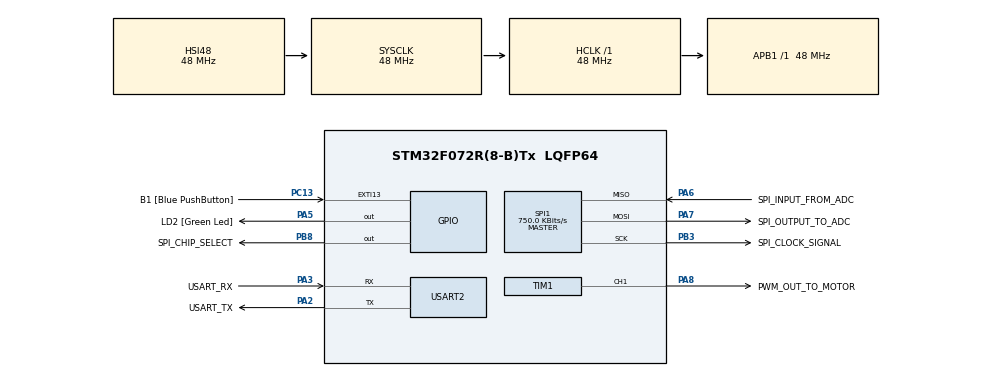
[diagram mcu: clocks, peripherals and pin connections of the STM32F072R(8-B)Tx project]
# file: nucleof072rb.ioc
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Mcu.Family=STM32F0
Mcu.Name=STM32F072R(8-B)Tx
Mcu.Package=LQFP64
PA13.GPIO_Label=TMS
PA13.Mode=Serial_Wire
PA13.Signal=SYS_SWDIO
PA14.GPIO_Label=TCK
PA14.Mode=Serial_Wire
PA14.Signal=SYS_SWCLK
PA2.GPIO_Label=USART_TX
PA2.GPIO_Mode=GPIO_MODE_AF_PP
PA2.GPIO_PuPd=GPIO_NOPULL
PA2.GPIO_Speed=GPIO_SPEED_FREQ_LOW
PA2.Mode=Asynchronous
PA2.Signal=USART2_TX
PA3.GPIO_Label=USART_RX
PA3.GPIO_Mode=GPIO_MODE_AF_PP
PA3.GPIO_PuPd=GPIO_NOPULL
PA3.GPIO_Speed=GPIO_SPEED_FREQ_LOW
PA3.Mode=Asynchronous
PA3.Signal=USART2_RX
PA5.GPIO_Label=LD2 [Green Led]
PA5.GPIO_Mode=GPIO_MODE_OUTPUT_PP
PA5.GPIO_PuPd=GPIO_NOPULL
PA5.GPIO_Speed=GPIO_SPEED_FREQ_LOW
PA5.Signal=GPIO_Output
PA6.GPIO_Label=SPI_INPUT_FROM_ADC
PA6.Mode=Full_Duplex_Master
PA6.Signal=SPI1_MISO
PA7.GPIO_Label=SPI_OUTPUT_TO_ADC
PA7.Mode=Full_Duplex_Master
PA7.Signal=SPI1_MOSI
PA8.GPIO_Label=PWM_OUT_TO_MOTOR
PA8.Signal=S_TIM1_CH1
PB3.GPIO_Label=SPI_CLOCK_SIGNAL
PB3.Mode=Full_Duplex_Master
PB3.Signal=SPI1_SCK
PB8.GPIO_Label=SPI_CHIP_SELECT
PB8.Signal=GPIO_Output
PC13.GPIO_Label=B1 [Blue PushButton]
PC13.GPIO_ModeDefaultEXTI=GPIO_MODE_IT_FALLING
PC13.Signal=GPXTI13
PC14-OSC32_IN.Mode=LSE-External-Oscillator
PC14-OSC32_IN.Signal=RCC_OSC32_IN
PC15-OSC32_OUT.Mode=LSE-External-Oscillator
PC15-OSC32_OUT.Signal=RCC_OSC32_OUT
PF0-OSC_IN.Mode=HSE-External-Clock-Source
PF0-OSC_IN.Signal=RCC_OSC_IN
PF1-OSC_OUT.Signal=RCC_OSC_OUT
ProjectManager.HeapSize=0x200
ProjectManager.StackSize=0x400
ProjectManager.TargetToolchain=STM32CubeIDE
RCC.AHBFreq_Value=48000000
RCC.APB1Freq_Value=48000000
RCC.APB1TimFreq_Value=48000000
RCC.FLatency-AdvancedSettings=FLASH_LATENCY_1
RCC.HCLKFreq_Value=48000000
RCC.PLLDivider=RCC_PREDIV_DIV2
RCC.PLLMUL=RCC_PLL_MUL12
RCC.PREFETCH_ENABLE-AdvancedSettings=1
RCC.SYSCLKFreq_VALUE=48000000
RCC.SYSCLKSource=RCC_SYSCLKSOURCE_HSI48
SH.S_TIM1_CH1.0=TIM1_CH1,PWM Generation1 CH1
SPI1.BaudRatePrescaler=SPI_BAUDRATEPRESCALER_64
SPI1.CLKPolarity=SPI_POLARITY_LOW
SPI1.CalculateBaudRate=750.0 KBits/s
SPI1.DataSize=SPI_DATASIZE_8BIT
SPI1.Direction=SPI_DIRECTION_2LINES
SPI1.Mode=SPI_MODE_MASTER
SPI1.VirtualType=VM_MASTER
TIM1.Channel-PWM\ Generation1\ CH1=TIM_CHANNEL_1
TIM1.Period=64000
TIM1.Prescaler=14
TIM1.Pulse-PWM\ Generation1\ CH1=3000
USART2.VirtualMode=VM_ASYNC
USART2.VirtualMode-Asynchronous=VM_ASYNC
VP_TIM1_VS_ClockSourceINT.Mode=Internal
board=NUCLEO-F072RB

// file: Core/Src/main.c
/* USER CODE BEGIN Header */
/**
  ******************************************************************************
  * @file           : main.c
  * @brief          : Main program body
  ******************************************************************************
  * @attention
  *
  * <h2><center>&copy; Copyright (c) 2021 STMicroelectronics.
  * All rights reserved.</center></h2>
  *
  * This software component is licensed by ST under BSD 3-Clause license,
  * the "License"; You may not use this file except in compliance with the
  * License. You may obtain a copy of the License at:
  *                        opensource.org/licenses/BSD-3-Clause
  *
  ******************************************************************************
  */
/* USER CODE END Header */
#include "main.h"
#include "spi.h"
#include "tim.h"
#include "usart.h"
#include "gpio.h"

void SystemClock_Config(void);

int main(void)
{
  /* USER CODE BEGIN 1 */
	/*i loki forgot c++ use{} for array not []*/
	uint8_t spi_rx_data[3]={0x00,0x00,0x00};

	/*these numbers are for the specific instruction of 'i wanna get readings from channel 0 of adc'
	 and it is being sent by the MCU
	 got these info from the datasheet */
	uint8_t spi_tx_data[3]={0x01,0x80,0x00};

	HAL_StatusTypeDef spi_rx_read_status;

	uint16_t received_raw_data=0x0000;
	uint16_t parsed_data = 0x0000;
	const uint16_t COUNT_RANGE_DIVERGENCE = 3200,
					BASE_RANGE=3200;

  /* USER CODE END 1 */

  /* MCU Configuration--------------------------------------------------------*/

  /* Reset of all peripherals, Initializes the Flash interface and the Systick. */
  HAL_Init();

  /* Configure the system clock */
  SystemClock_Config();

  /* Initialize all configured peripherals */
  MX_GPIO_Init();
  MX_USART2_UART_Init();
  MX_SPI1_Init();
  MX_TIM1_Init();
  /* USER CODE BEGIN 2 */

  /*start the timer*/
  HAL_TIM_PWM_Start(&htim1, TIM_CHANNEL_1);

  /* USER CODE END 2 */

  /* Infinite loop */
  while (1)
  {

    /* USER CODE BEGIN 3 */

	  /*Manual pull CS line low to start data transfer*/
	  HAL_GPIO_WritePin(SPI_CHIP_SELECT_GPIO_Port, SPI_CHIP_SELECT_Pin, GPIO_PIN_RESET);

	  /*3 is capacity of array 3*8 = 24 bit total*/
	  spi_rx_read_status=HAL_SPI_TransmitReceive(&hspi1, spi_tx_data, spi_rx_data, 3, 100);

	  /*Pull cs line back up*/
	  HAL_GPIO_WritePin(SPI_CHIP_SELECT_GPIO_Port, SPI_CHIP_SELECT_Pin, GPIO_PIN_SET);

	  if(spi_rx_read_status != HAL_OK){
		  /*Catches error ,skip
		   maybe a fallback value?
		   depends on what the servo is used for */
		  continue;
	  }

	  received_raw_data = ((uint16_t)(spi_rx_data[1] & 0x03) << 8 | spi_rx_data[2]);

	  if(received_raw_data < 0 || received_raw_data > 1023){
		  /*no falsely value allowed, fallback*/
		  received_raw_data = 1023;
	  }

	  //map data
	  parsed_data = (uint16_t)(BASE_RANGE + (uint32_t)(COUNT_RANGE_DIVERGENCE*received_raw_data)/1023);

	  //adjust duty cycle
	  __HAL_TIM_SET_COMPARE(&htim1,TIM_CHANNEL_1,parsed_data);

  }
  /* USER CODE END 3 */
}

void SystemClock_Config(void)
{
  RCC_OscInitTypeDef RCC_OscInitStruct = {0};
  RCC_ClkInitTypeDef RCC_ClkInitStruct = {0};
  RCC_PeriphCLKInitTypeDef PeriphClkInit = {0};

  /** Initializes the RCC Oscillators according to the specified parameters
  * in the RCC_OscInitTypeDef structure.
  */
  RCC_OscInitStruct.OscillatorType = RCC_OSCILLATORTYPE_HSI48;
  RCC_OscInitStruct.HSI48State = RCC_HSI48_ON;
  RCC_OscInitStruct.PLL.PLLState = RCC_PLL_NONE;
  if (HAL_RCC_OscConfig(&RCC_OscInitStruct) != HAL_OK)
  {
    Error_Handler();
  }
  /** Initializes the CPU, AHB and APB buses clocks
  */
  RCC_ClkInitStruct.ClockType = RCC_CLOCKTYPE_HCLK|RCC_CLOCKTYPE_SYSCLK
                              |RCC_CLOCKTYPE_PCLK1;
  RCC_ClkInitStruct.SYSCLKSource = RCC_SYSCLKSOURCE_HSI48;
  RCC_ClkInitStruct.AHBCLKDivider = RCC_SYSCLK_DIV1;
  RCC_ClkInitStruct.APB1CLKDivider = RCC_HCLK_DIV1;

  if (HAL_RCC_ClockConfig(&RCC_ClkInitStruct, FLASH_LATENCY_1) != HAL_OK)
  {
    Error_Handler();
  }
  PeriphClkInit.PeriphClockSelection = RCC_PERIPHCLK_USART2;
  PeriphClkInit.Usart2ClockSelection = RCC_USART2CLKSOURCE_PCLK1;
  if (HAL_RCCEx_PeriphCLKConfig(&PeriphClkInit) != HAL_OK)
  {
    Error_Handler();
  }
}

void Error_Handler(void)
{
  __disable_irq();
  while (1)
  {
  }
}

/************************ (C) COPYRIGHT STMicroelectronics *****END OF FILE****/
